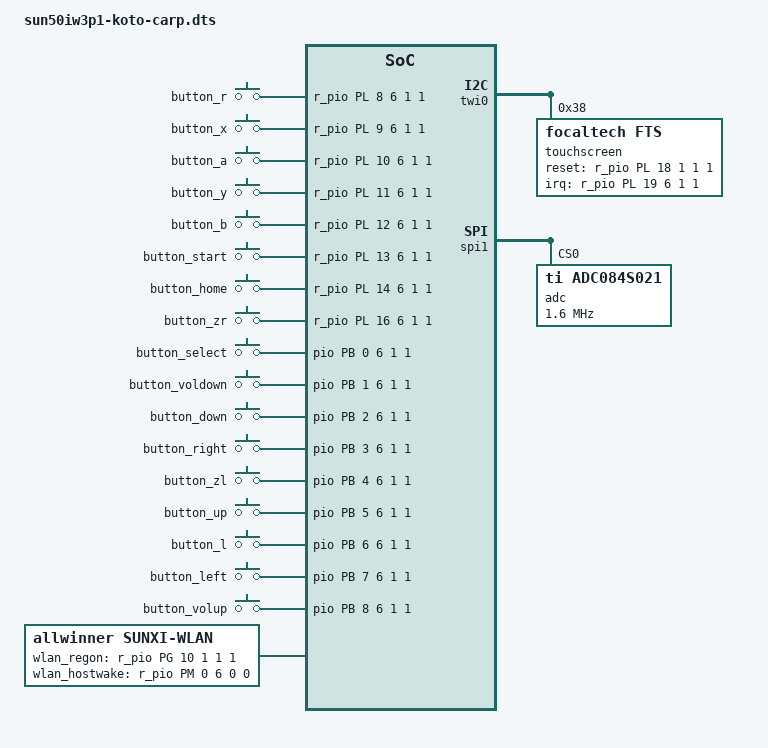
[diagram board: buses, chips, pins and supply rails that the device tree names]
/*
 * Allwinner Technology CO., Ltd. sun50iw3p1 soc koto-carp board.
 *
 * soc board support.
 */

/dts-v1/;

#include "sun50iw3p1.dtsi"

/{
	soc@03000000 {
		twi0: twi@0x05002000{
			status = "okay";
			touchscreen: fts@38 {
				compatible = "focaltech,fts";
				reg = <0x38>;
				focaltech,reset-gpio = <&r_pio PL 18 1 1 1 1>;
				focaltech,irq-gpio = <&r_pio PL 19 6 1 1 1>;
				focaltech,max-touch-number = <5>;
				focaltech,display-coords = <0 0 1080 1920>;

				/*focaltech,have-key;*/
				focaltech,key-number = <3>;
				focaltech,keys = <139 102 158>;
				focaltech,key-y-coord = <2000>;
				focaltech,key-x-coords = <200 600 800>;
			};
		};

		spi1: spi@0x05011000 {
			status = "ok";
			adc: adc084s021@0 {
				compatible = "ti,adc084s021";
				reg = <0>;
				spi-max-frequency = <1600000>;
			};
		};
	};

	gpio_keys:gpio_keys {
		compatible = "gpio-keys";
		status = "okay";
		button_r:button_r {
			label = "button_r";
			gpios = <&r_pio PL 8 6 1 1 1>;
			linux,code = <183>;
			gpio-key,wakeup;
		};
		button_x:button_x {
			label = "button_x";
			gpios = <&r_pio PL 9 6 1 1 1>;
			linux,code = <45>;
			gpio-key,wakeup;
		};
		button_a:button_a {
			label = "button_a";
			gpios = <&r_pio PL 10 6 1 1 1>;
			linux,code = <30>;
			gpio-key,wakeup;
		};
		button_y:button_y {
			label = "button_y";
			gpios = <&r_pio PL 11 6 1 1 1>;
			linux,code = <21>;
			gpio-key,wakeup;
		};
		button_b:button_b {
			label = "button_b";
			gpios = <&r_pio PL 12 6 1 1 1>;
			linux,code = <48>;
			gpio-key,wakeup;
		};
		button_start:button_start {
			label = "button_start";
			gpios = <&r_pio PL 13 6 1 1 1>;
			linux,code = <0x13b>;
			gpio-key,wakeup;
		};
		button_home:button_home {
			label = "button_home";
			gpios = <&r_pio PL 14 6 1 1 1>;
			linux,code = <102>;
			gpio-key,wakeup;
		};
		button_zr:button_zr {
			label = "button_zr";
			gpios = <&r_pio PL 16 6 1 1 1>;
			linux,code = <183>;
			gpio-key,wakeup;
		};
		button_select:button_select {
			label = "button_select";
			gpios = <&pio PB 0 6 1 1 1>;
			linux,code = <0x13a>;
			gpio-key,wakeup;
		};
		button_voldown:button_voldown {
			label = "button_voldown";
			gpios = <&pio PB 1 6 1 1 1>;
			linux,code = <114>;
			gpio-key,wakeup;
		};
		button_down:button_down {
			label = "button_down";
			gpios = <&pio PB 2 6 1 1 1>;
			linux,code = <108>;
			gpio-key,wakeup;
		};
		button_right:button_right {
			label = "button_right";
			gpios = <&pio PB 3 6 1 1 1>;
			linux,code = <106>;
			gpio-key,wakeup;
		};
		button_zl:button_zl {
			label = "button_zl";
			gpios = <&pio PB 4 6 1 1 1>;
			linux,code = <183>;
			gpio-key,wakeup;
		};
		button_up:button_up {
			label = "button_up";
			gpios = <&pio PB 5 6 1 1 1>;
			linux,code = <103>;
			gpio-key,wakeup;
		};
		button_l:button_l {
			label = "button_l";
			gpios = <&pio PB 6 6 1 1 1>;
			linux,code = <183>;
			gpio-key,wakeup;
		};
		button_left:button_left {
			label = "button_left";
			gpios = <&pio PB 7 6 1 1 1>;
			linux,code = <105>;
			gpio-key,wakeup;
		};
		button_volup:button_volup {
			label = "button_volup";
			gpios = <&pio PB 8 6 1 1 1>;
			linux,code = <115>;
			gpio-key,wakeup;
		};

	};
	wlan:wlan {
		compatible = "allwinner,sunxi-wlan";
		clocks = <&clk_losc_out>;
                wlan_power1 = "vcc-wifi";
                wlan_io_regulator = "vcc-wifi-io";
                wlan_busnum = <1>;
                wlan_regon = <&r_pio PG 10 1 1 1 0>;
                wlan_hostwake = <&r_pio PM 0 6 0 0 0>;
                status = "okay";
        };


};
